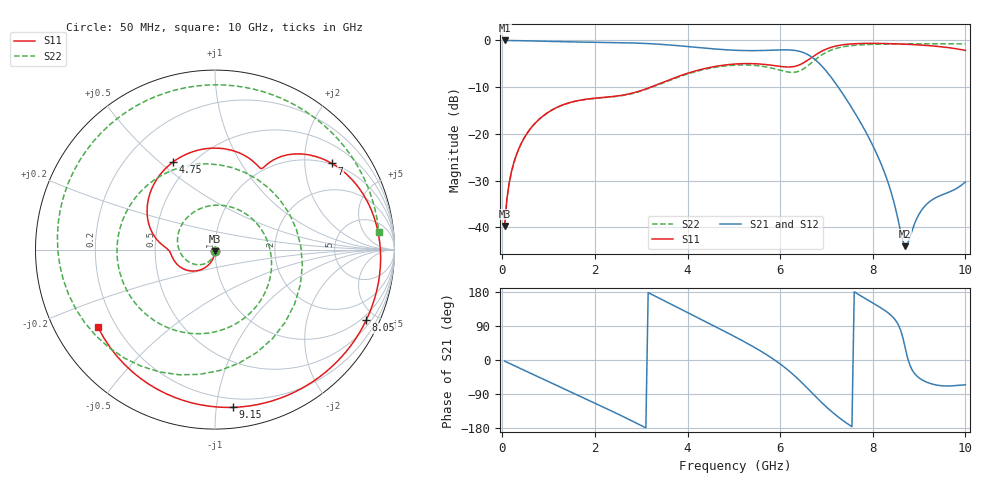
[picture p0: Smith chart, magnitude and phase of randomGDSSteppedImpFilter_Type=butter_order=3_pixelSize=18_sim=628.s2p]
! freq	dB(S11)	phase(S11)	dB(S12)	phase(S12)
!  dB(S21)	phase(S21)	dB(S22)	phase(S22)
!S-par simulation data
#  GHz  S  DB  R 50
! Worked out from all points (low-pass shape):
!   200 points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, 50 MHz to 10 GHz, reference 50 ohm
!   highest |S21| = -0.01 dB at 50 MHz (marker M1); lowest = -44.1 dB at 8.7 GHz (marker M2)
!   |S21| within 3 dB of the highest: start of sweep to 6.59 GHz
!   lowest |S11| = -39.7 dB at 50 MHz (marker M3), VSWR 1.02, Z = 50 - j1.03 ohm
!   |S11| at or under -10 dB: start of sweep to 3.204 GHz
!   |S22| runs from -39.9 to -0.7 dB; largest |S21 - S12| = 0
!   S11 on the Smith chart (normalised r, x): 50 MHz: 1.00, -0.02; 4.75 GHz: 0.40, +0.55; 7 GHz: 0.98, +2.73; 8.05 GHz: 0.76, -4.39; 9.15 GHz: 0.14, -1.11; 10 GHz: 0.13, -0.30
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0.05  -39.74 -91.6  -0.01 -2.9  -0.01 -2.9  -39.91 -93.6
0.2  -28.04 -99.9  -0.02 -11.5  -0.02 -11.5  -28.03 -104.2
0.5  -20.43 -113.7  -0.08 -28.7  -0.08 -28.7  -20.45 -125.0
1.15  -14.48 -141.7  -0.23 -65.5  -0.23 -65.5  -14.50 -171.0
1.75  -12.68 -162.6  -0.36 -99.4  -0.36 -99.4  -12.70 142.3
2.65  -11.63 179.9  -0.50 -151.7  -0.50 -151.7  -11.71 55.4
3.4  -9.24 167.7  -0.82 162.4  -0.82 162.4  -9.37 -24.1
4.1  -6.73 144.1  -1.40 119.0  -1.40 119.0  -6.88 -87.0
4.75  -5.33 115.6  -1.95 78.7  -1.95 78.7  -5.54 -138.6
5.05  -5.03 101.7  -2.12 59.7  -2.12 59.7  -5.28 -162.5
5.55  -5.04 79.4  -2.17 25.8  -2.17 25.8  -5.45 152.5
6.05  -5.62 62.8  -2.01 -15.0  -2.01 -15.0  -6.50 87.2
6.45  -5.08 58.6  -2.43 -57.5  -2.43 -57.5  -6.39 1.8
6.7  -3.52 52.4  -3.69 -88.2  -3.69 -88.2  -4.58 -57.0
7  -1.83 36.4  -6.62 -124.1  -6.62 -124.1  -2.52 -114.2
7.45  -0.82 8.4  -12.91 -167.9  -12.91 -167.9  -1.22 -174.4
8.05  -0.63 -25.0  -23.53 146.9  -23.53 146.9  -0.82 130.3
8.35  -0.69 -40.6  -31.02 122.6  -31.02 122.6  -0.77 107.5
8.7  -0.81 -58.7  -44.05 32.2  -44.05 32.2  -0.73 83.1
9.15  -1.06 -83.5  -35.20 -57.7  -35.20 -57.7  -0.72 54.2
9.6  -1.50 -112.5  -32.67 -68.6  -32.67 -68.6  -0.72 27.8
10  -2.14 -146.6  -30.31 -65.5  -30.31 -65.5  -0.74 6.1
